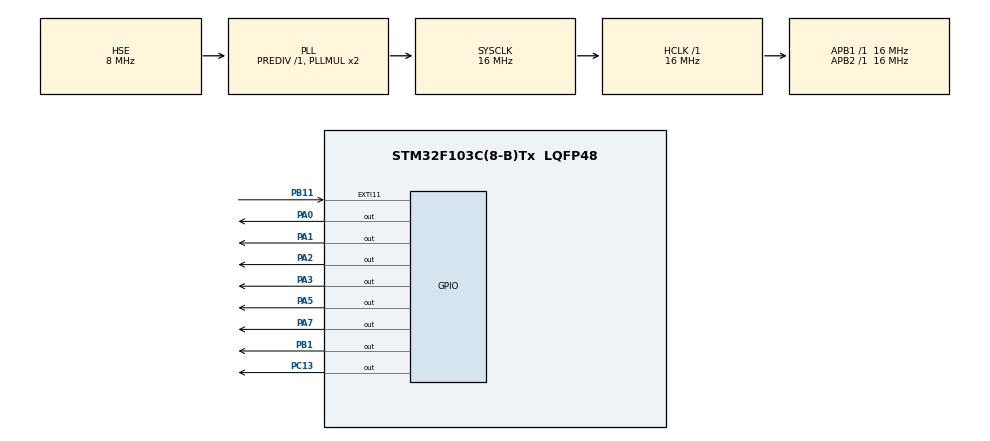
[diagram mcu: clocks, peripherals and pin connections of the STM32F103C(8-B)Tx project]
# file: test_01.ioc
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Mcu.Family=STM32F1
Mcu.Name=STM32F103C(8-B)Tx
Mcu.Package=LQFP48
NVIC.EXTI15_10_IRQn=true\:15\:0\:true\:false\:true\:true\:true\:true
NVIC.PriorityGroup=NVIC_PRIORITYGROUP_4
PA0-WKUP.PinState=GPIO_PIN_SET
PA0-WKUP.Signal=GPIO_Output
PA1.PinState=GPIO_PIN_SET
PA1.Signal=GPIO_Output
PA13.Mode=Serial_Wire
PA13.Signal=SYS_JTMS-SWDIO
PA14.Mode=Serial_Wire
PA14.Signal=SYS_JTCK-SWCLK
PA2.PinState=GPIO_PIN_SET
PA2.Signal=GPIO_Output
PA3.PinState=GPIO_PIN_SET
PA3.Signal=GPIO_Output
PA5.PinState=GPIO_PIN_SET
PA5.Signal=GPIO_Output
PA7.PinState=GPIO_PIN_SET
PA7.Signal=GPIO_Output
PB1.PinState=GPIO_PIN_SET
PB1.Signal=GPIO_Output
PB11.GPIO_ModeDefaultEXTI=GPIO_MODE_IT_FALLING
PB11.GPIO_PuPd=GPIO_PULLUP
PB11.Signal=GPXTI11
PC13-TAMPER-RTC.PinState=GPIO_PIN_RESET
PC13-TAMPER-RTC.Signal=GPIO_Output
PD0-OSC_IN.Mode=HSE-External-Oscillator
PD0-OSC_IN.Signal=RCC_OSC_IN
PD1-OSC_OUT.Mode=HSE-External-Oscillator
PD1-OSC_OUT.Signal=RCC_OSC_OUT
ProjectManager.HeapSize=0x200
ProjectManager.StackSize=0x400
ProjectManager.TargetToolchain=CMake
RCC.AHBFreq_Value=16000000
RCC.APB1Freq_Value=16000000
RCC.APB1TimFreq_Value=16000000
RCC.APB2Freq_Value=16000000
RCC.APB2TimFreq_Value=16000000
RCC.HCLKFreq_Value=16000000
RCC.PLLSourceVirtual=RCC_PLLSOURCE_HSE
RCC.SYSCLKFreq_VALUE=16000000
RCC.SYSCLKSource=RCC_SYSCLKSOURCE_PLLCLK
RCC.USBFreq_Value=16000000
board=custom

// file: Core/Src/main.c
/* USER CODE BEGIN Header */
/**
  ******************************************************************************
  * @file           : main.c
  * @brief          : Main program body
  ******************************************************************************
  * @attention
  *
  * Copyright (c) 2026 STMicroelectronics.
  * All rights reserved.
  *
  * This software is licensed under terms that can be found in the LICENSE file
  * in the root directory of this software component.
  * If no LICENSE file comes with this software, it is provided AS-IS.
  *
  ******************************************************************************
  */
/* USER CODE END Header */
#include "main.h"
#include "gpio.h"

/* USER CODE BEGIN Includes */
volatile int count=1;

/* USER CODE END Includes */

void SystemClock_Config(void);

int main(void)
{

  /* MCU Configuration--------------------------------------------------------*/

  /* Reset of all peripherals, Initializes the Flash interface and the Systick. */
  HAL_Init();

  /* Configure the system clock */
  SystemClock_Config();

  /* Initialize all configured peripherals */
  MX_GPIO_Init();

  /* Infinite loop */
  /* USER CODE BEGIN WHILE */
  while (1)
  {
    while (count==1)
    {

      HAL_GPIO_TogglePin(GPIOA, GPIO_PIN_0);
      HAL_Delay(200);
      HAL_GPIO_TogglePin(GPIOA, GPIO_PIN_0);
      HAL_GPIO_TogglePin(GPIOA, GPIO_PIN_1);
      HAL_Delay(200);
      HAL_GPIO_TogglePin(GPIOA, GPIO_PIN_1);
      HAL_GPIO_TogglePin(GPIOA, GPIO_PIN_2);
      HAL_Delay(200);
      HAL_GPIO_TogglePin(GPIOA, GPIO_PIN_2);
      HAL_GPIO_TogglePin(GPIOA, GPIO_PIN_3);
      HAL_Delay(200);
      HAL_GPIO_TogglePin(GPIOA, GPIO_PIN_3);
      HAL_GPIO_TogglePin(GPIOA, GPIO_PIN_5);
      HAL_Delay(200);
      HAL_GPIO_TogglePin(GPIOA, GPIO_PIN_5);
      HAL_GPIO_TogglePin(GPIOA, GPIO_PIN_7);
      HAL_Delay(200);
      HAL_GPIO_TogglePin(GPIOA, GPIO_PIN_7);
      HAL_GPIO_TogglePin(GPIOB, GPIO_PIN_1);
      HAL_Delay(200);
      HAL_GPIO_TogglePin(GPIOB, GPIO_PIN_1);

    }

    HAL_Delay(500);
    HAL_GPIO_WritePin(GPIOA, 0x00FF, GPIO_PIN_SET);
    HAL_GPIO_WritePin(GPIOB, GPIO_PIN_1, GPIO_PIN_SET);
    while (count==-1)
    {
      HAL_GPIO_TogglePin(GPIOB, GPIO_PIN_1);
      HAL_Delay(200);
      HAL_GPIO_TogglePin(GPIOB, GPIO_PIN_1);
      HAL_GPIO_TogglePin(GPIOA, GPIO_PIN_7);
      HAL_Delay(200);
      HAL_GPIO_TogglePin(GPIOA, GPIO_PIN_7);
      HAL_GPIO_TogglePin(GPIOA, GPIO_PIN_5);
      HAL_Delay(200);
      HAL_GPIO_TogglePin(GPIOA, GPIO_PIN_5);
      HAL_GPIO_TogglePin(GPIOA, GPIO_PIN_3);
      HAL_Delay(200);
      HAL_GPIO_TogglePin(GPIOA, GPIO_PIN_3);
      HAL_GPIO_TogglePin(GPIOA, GPIO_PIN_2);
      HAL_Delay(200);
      HAL_GPIO_TogglePin(GPIOA, GPIO_PIN_2);
      HAL_GPIO_TogglePin(GPIOA, GPIO_PIN_1);
      HAL_Delay(200);
      HAL_GPIO_TogglePin(GPIOA, GPIO_PIN_1);
      HAL_GPIO_TogglePin(GPIOA, GPIO_PIN_0);
      HAL_Delay(200);
      HAL_GPIO_TogglePin(GPIOA, GPIO_PIN_0);

    }
    HAL_Delay(500);
    HAL_GPIO_WritePin(GPIOA, 0x00FF, GPIO_PIN_SET);
    HAL_GPIO_WritePin(GPIOB, GPIO_PIN_1, GPIO_PIN_SET);
    /* USER CODE END WHILE */

  }
}

void SystemClock_Config(void)
{
  RCC_OscInitTypeDef RCC_OscInitStruct = {0};
  RCC_ClkInitTypeDef RCC_ClkInitStruct = {0};

  /** Initializes the RCC Oscillators according to the specified parameters
  * in the RCC_OscInitTypeDef structure.
  */
  RCC_OscInitStruct.OscillatorType = RCC_OSCILLATORTYPE_HSE;
  RCC_OscInitStruct.HSEState = RCC_HSE_ON;
  RCC_OscInitStruct.HSEPredivValue = RCC_HSE_PREDIV_DIV1;
  RCC_OscInitStruct.HSIState = RCC_HSI_ON;
  RCC_OscInitStruct.PLL.PLLState = RCC_PLL_ON;
  RCC_OscInitStruct.PLL.PLLSource = RCC_PLLSOURCE_HSE;
  RCC_OscInitStruct.PLL.PLLMUL = RCC_PLL_MUL2;
  if (HAL_RCC_OscConfig(&RCC_OscInitStruct) != HAL_OK)
  {
    Error_Handler();
  }

  /** Initializes the CPU, AHB and APB buses clocks
  */
  RCC_ClkInitStruct.ClockType = RCC_CLOCKTYPE_HCLK|RCC_CLOCKTYPE_SYSCLK
                              |RCC_CLOCKTYPE_PCLK1|RCC_CLOCKTYPE_PCLK2;
  RCC_ClkInitStruct.SYSCLKSource = RCC_SYSCLKSOURCE_PLLCLK;
  RCC_ClkInitStruct.AHBCLKDivider = RCC_SYSCLK_DIV1;
  RCC_ClkInitStruct.APB1CLKDivider = RCC_HCLK_DIV1;
  RCC_ClkInitStruct.APB2CLKDivider = RCC_HCLK_DIV1;

  if (HAL_RCC_ClockConfig(&RCC_ClkInitStruct, FLASH_LATENCY_0) != HAL_OK)
  {
    Error_Handler();
  }
}

void Error_Handler(void)
{
    __disable_irq();
    while (1)
    {
    }
}
